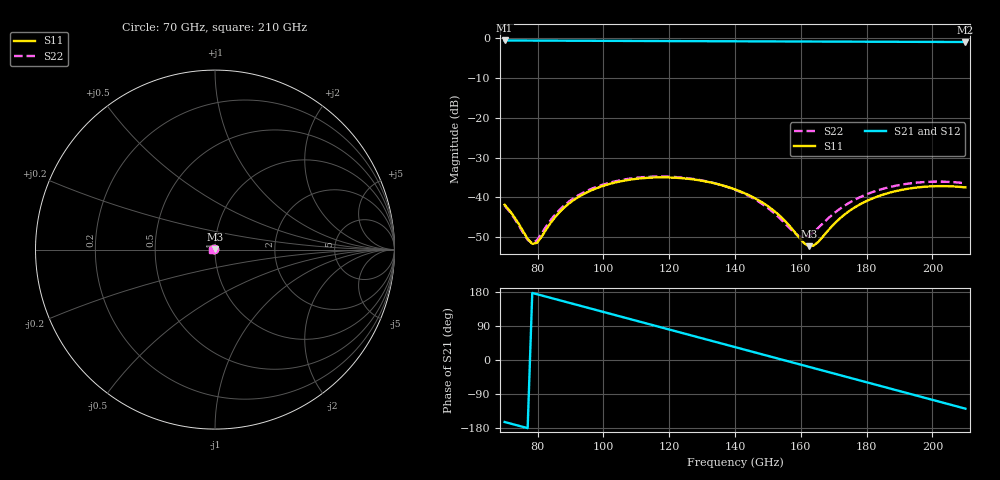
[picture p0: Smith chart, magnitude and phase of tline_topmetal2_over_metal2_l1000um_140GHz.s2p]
#  GHZ S DB R 50
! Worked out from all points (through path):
!   101 points, 70 GHz to 210 GHz, reference 50 ohm
!   highest |S21| = -0.62 dB at 70 GHz (marker M1); lowest = -1.0 dB at 210 GHz (marker M2)
!   group delay of S21, straight-line fit = 6.44 ps
!   lowest |S11| = -52.2 dB at 162.4 GHz (marker M3), VSWR 1.00, Z = 50.2 + j0.157 ohm
!   |S11| at or under -10 dB: start of sweep to end of sweep
!   |S22| runs from -51.5 to -34.7 dB; largest |S21 - S12| = 1.6e-13
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70  -41.81 165.3  -0.62 -163.6  -0.62 -163.6  -42.04 164.4
72.8  -44.72 149.7  -0.63 -170.1  -0.63 -170.1  -45.04 148.0
77  -50.37 105.9  -0.64 -179.8  -0.64 -179.8  -50.63 99.8
78.4  -51.63 79.6  -0.64 177.0  -0.64 177.0  -51.47 72.1
79.8  -51.38 50.8  -0.65 173.7  -0.65 173.7  -50.76 44.5
86.8  -43.57 -19.2  -0.67 157.5  -0.67 157.5  -43.00 -19.7
93.8  -39.23 -47.9  -0.69 141.2  -0.69 141.2  -38.83 -47.6
106.4  -35.77 -87.6  -0.73 112.0  -0.73 112.0  -35.49 -87.0
117.6  -34.95 -120.3  -0.76 86.0  -0.76 86.0  -34.75 -119.7
128.8  -35.65 -152.9  -0.80 60.0  -0.80 60.0  -35.55 -152.5
140  -37.97 173.1  -0.83 34.1  -0.83 34.1  -38.07 172.8
145.6  -39.99 154.7  -0.84 21.1  -0.84 21.1  -40.26 153.1
151.2  -42.92 133.4  -0.86 8.1  -0.86 8.1  -43.44 128.8
159.6  -50.18 78.4  -0.88 -11.4  -0.88 -11.4  -49.75 58.0
162.4  -52.21 39.5  -0.89 -17.9  -0.89 -17.9  -49.65 19.8
163.8  -52.10 17.0  -0.89 -21.1  -0.89 -21.1  -48.80 3.0
169.4  -47.24 -42.8  -0.90 -34.1  -0.90 -34.1  -44.44 -40.9
175  -43.23 -71.8  -0.92 -47.1  -0.92 -47.1  -41.19 -66.7
180.6  -40.65 -92.8  -0.93 -60.1  -0.93 -60.1  -39.00 -86.8
187.6  -38.66 -115.6  -0.95 -76.4  -0.95 -76.4  -37.27 -109.1
198.8  -37.24 -149.5  -0.97 -102.4  -0.97 -102.4  -36.08 -142.1
210  -37.48 177.0  -1.00 -128.4  -1.00 -128.4  -36.44 -174.3
